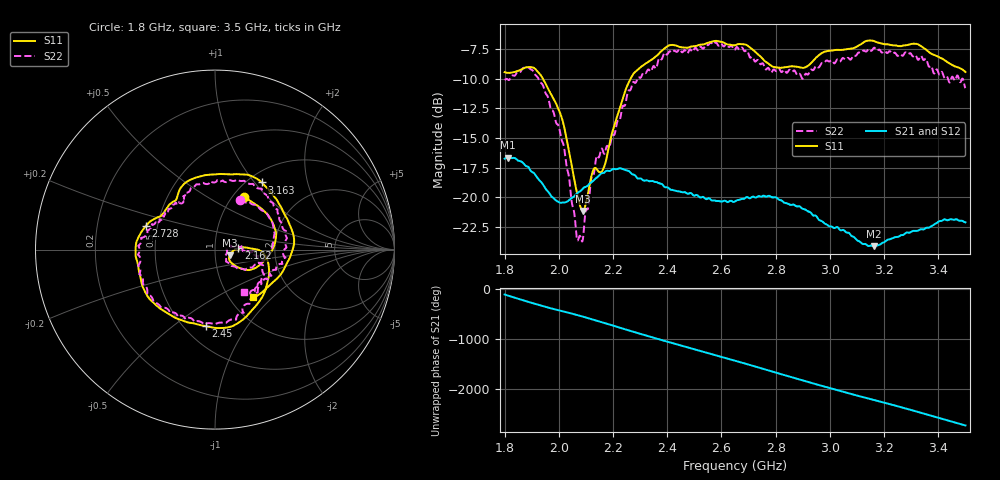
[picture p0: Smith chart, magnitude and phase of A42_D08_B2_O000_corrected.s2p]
! Created with skrf 1.9.0 (http://scikit-rf.org).
# Hz S RI R 50.0
!freq ReS11 ImS11 ReS21 ImS21 ReS12 ImS12 ReS22 ImS22
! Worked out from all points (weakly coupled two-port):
!   1601 points, 1.8 GHz to 3.5 GHz, reference 50 ohm
!   highest |S21| = -16.65 dB at 1.812 GHz (marker M1); lowest = -24.1 dB at 3.161 GHz (marker M2)
!   lowest |S11| = -21.2 dB at 2.09 GHz (marker M3), VSWR 1.19, Z = 58.8 - j3.68 ohm
!   |S11| at or under -10 dB: 1.942 GHz to 2.264 GHz (322.5 MHz wide, 15.3 % of centre)
!   |S22| runs from -23.7 to -6.9 dB; largest |S21 - S12| = 0.0027
!   S11 on the Smith chart (normalised r, x): 1.8 GHz: 1.12, +0.75; 2.162 GHz: 1.30, +0.02; 2.45 GHz: 0.63, -0.66; 2.728 GHz: 0.43, +0.13; 3.163 GHz: 1.15, +1.09; 3.5 GHz: 1.28, -0.76
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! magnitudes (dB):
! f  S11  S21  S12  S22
! 1.8 GHz  -9.4  -16.7  -16.8  -10.1
! 1.812 GHz  -9.5  -16.6  -16.7  -10.1
! 1.887 GHz  -9.0  -17.4  -17.5  -9.0
! 1.942 GHz  -10.0  -19.0  -18.9  -10.6
! 2.011 GHz  -13.3  -20.5  -20.5  -15.2
! 2.066 GHz  -19.5  -19.7  -19.7  -23.3
! 2.084 GHz  -21.0  -19.4  -19.4  -23.6
! 2.09 GHz  -21.2  -19.2  -19.3  -23.3
! 2.127 GHz  -17.7  -18.6  -18.6  -18.2
! 2.162 GHz  -17.7  -18.0  -17.9  -16.1
! 2.261 GHz  -10.2  -17.8  -17.9  -11.0
! 2.367 GHz  -7.9  -18.8  -18.7  -8.4
! 2.45 GHz  -7.3  -19.5  -19.5  -7.7
! 2.65 GHz  -7.2  -20.4  -20.3  -7.5
! 2.728 GHz  -7.8  -20.0  -20.0  -8.5
! 2.799 GHz  -9.0  -20.0  -20.0  -9.3
! 2.934 GHz  -8.6  -21.4  -21.4  -9.2
! 3.161 GHz  -6.8  -24.1  -24.1  -7.4
! 3.163 GHz  -6.8  -24.1  -24.1  -7.4
! 3.217 GHz  -7.1  -23.6  -23.5  -7.7
! 3.325 GHz  -7.1  -22.8  -22.8  -8.4
! 3.5 GHz  -9.4  -22.1  -22.1  -10.8
